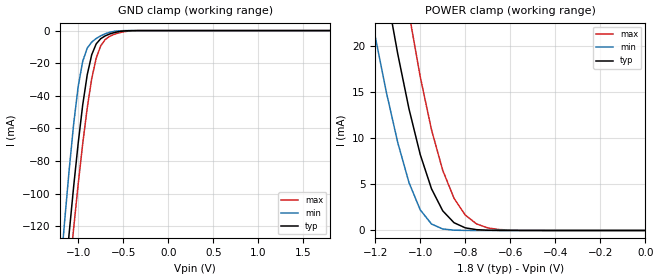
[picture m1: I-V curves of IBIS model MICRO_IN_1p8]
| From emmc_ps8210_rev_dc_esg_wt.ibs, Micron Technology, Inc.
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|   Model MICRO_IN_1p8
[Model]   MICRO_IN_1p8
Model_type   Input
Vinl = 0.68V
Vinh = 1.11V
|   typ   min   max
C_comp   7.500pF   6.460pF   8.360pF
[Voltage Range]   1.800V   1.700V   1.950V
| Junction Temperature (Ambient temp is 35C typ, -25C min, 85C max)
[Temperature Range]   50.0   -25.0   100.0
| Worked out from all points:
|   GND clamp passes 1 mA (typ) near -0.58 V on its own axis
|   POWER clamp passes 1 mA (typ) near -0.86 V on its own axis
[GND_clamp]
|   Voltage   I(typ)   I(min)   I(max)
-1.8V     -608.7mA   -599.1mA   -617.6mA
-1.2V     -186.2mA   -149.8mA   -210.2mA
-1.15V    -154.6mA   -116.7mA   -179.4mA
-1.1V     -124.2mA   -85.51mA   -149.7mA
-1.05V    -95.54mA   -57.21mA   -121.1mA
-1V       -69.13mA   -34.35mA   -94.25mA
-950mV    -45.76mA   -18.89mA   -69.53mA
-900mV    -27.24mA   -10.82mA   -47.64mA
-800mV    -8.18mA    -4.866mA   -16.88mA
-700mV    -3.251mA   -1.955mA   -5.517mA
-450mV    -98.44uA   -9.124uA   -384.4uA
1.8V      133pA      34.66pA    4.976nA
[POWER_clamp]
|   Voltage   I(typ)   I(min)   I(max)
-1.8V     138mA      111.5mA    176.2mA
-1.25V    40.9mA     27.6mA     58.38mA
-1.2V     33.16mA    21.01mA    48.89mA
-1.15V    25.86mA    14.91mA    39.83mA
-1.1V     19.13mA    9.532mA    31.32mA
-1.05V    13.17mA    5.191mA    23.52mA
-1V       8.218mA    2.232mA    16.64mA
-950mV    4.513mA    701.3uA    10.9mA
-900mV    2.123mA    160.5uA    6.502mA
-850mV    840.9uA    33.19uA    3.486mA
-750mV    87.47uA    920.9nA    712.5uA
0V        132.9pA    31.99pA    5.255nA
